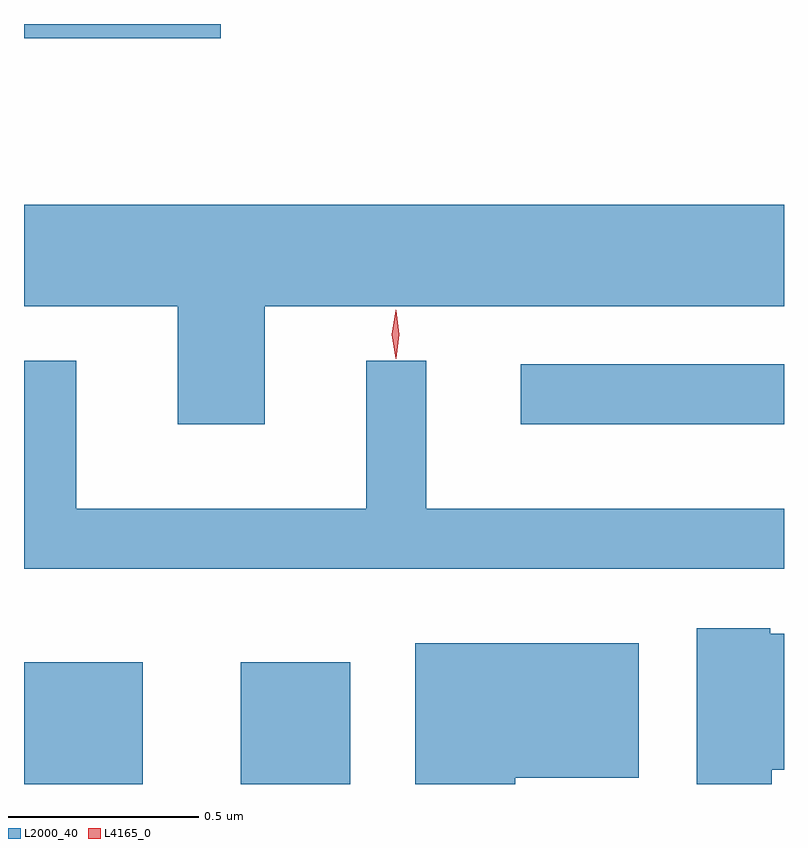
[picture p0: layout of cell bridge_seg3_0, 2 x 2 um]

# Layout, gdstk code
import gdstk
lib = gdstk.Library(unit=1e-6, precision=1e-09)
def R(c, l, rs):  # rectangles x0, y0, x1, y1
    for r in rs: c.add(gdstk.rectangle(r[:2], r[2:], *l))
def P(c, l, *ps):  # polygons
    for p in ps: c.add(gdstk.Polygon(p, *l))
L2000_40 = (2000, 40)
L4165_0 = (4165, 0)

bridge_seg3_0 = lib.new_cell('bridge_seg3_0')
R(bridge_seg3_0, L2000_40, [(1117.436,1251.299,1117.749,1251.619), (1118.006,1251.299,1118.294,1251.619), (1118.743,1252.246,1119.436,1252.404), (1117.436,1253.261,1117.954,1253.299)])
P(bridge_seg3_0, L2000_40, [(1118.069,1252.556),(1119.436,1252.556),(1119.436,1252.824),(1117.436,1252.824),(1117.436,1252.556),(1117.841,1252.556),(1117.841,1252.246),(1118.069,1252.246)],
  [(1119.436,1252.024),(1118.494,1252.024),(1118.494,1252.413),(1118.336,1252.413),(1118.336,1252.024),(1117.574,1252.024),(1117.574,1252.413),(1117.436,1252.413),(1117.436,1251.866),(1119.436,1251.866)],
  [(1119.404,1251.336),(1119.436,1251.336),(1119.436,1251.694),(1119.4,1251.694),(1119.4,1251.709),(1119.206,1251.709),(1119.206,1251.299),(1119.404,1251.299)],
  [(1118.729,1251.316),(1119.054,1251.316),(1119.054,1251.669),(1118.466,1251.669),(1118.466,1251.299),(1118.729,1251.299)])
P(bridge_seg3_0, L4165_0, [(1118.414,1252.418),(1118.404,1252.482),(1118.414,1252.546),(1118.414,1252.547),(1118.415,1252.546),(1118.424,1252.482),(1118.415,1252.418),(1118.415,1252.418)])

lib.write_gds('bridge_seg3_0.gds')
